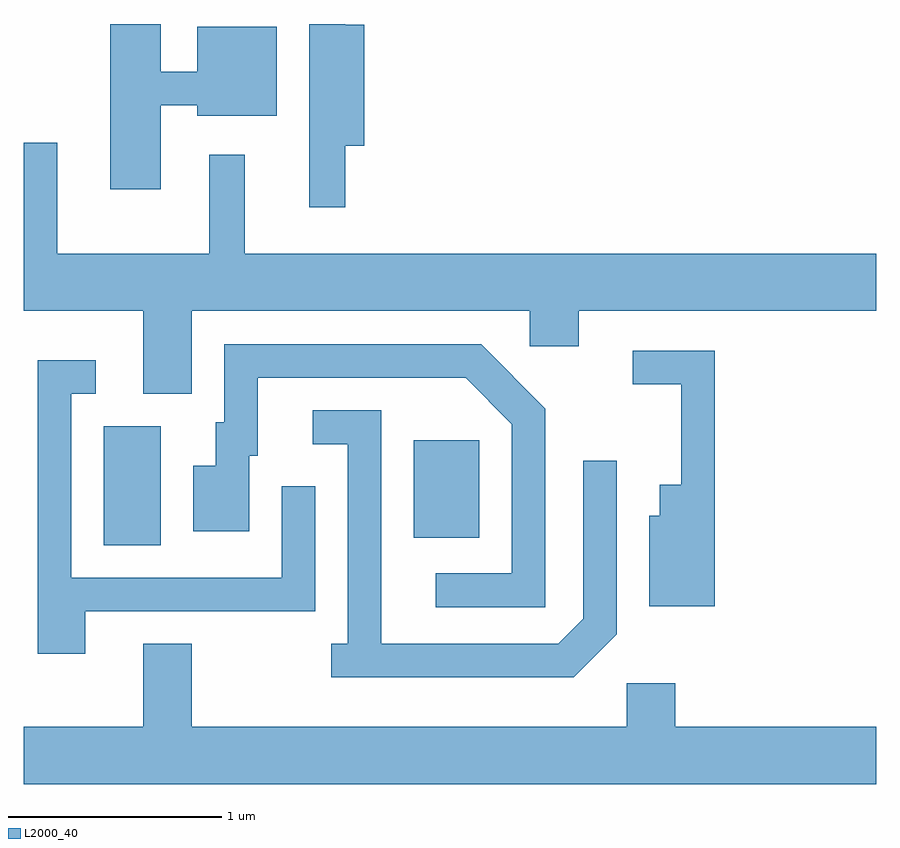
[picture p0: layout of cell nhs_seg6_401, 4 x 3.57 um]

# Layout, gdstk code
import gdstk
lib = gdstk.Library(unit=1e-6, precision=1e-09)
def R(c, l, rs):  # rectangles x0, y0, x1, y1
    for r in rs: c.add(gdstk.rectangle(r[:2], r[2:], *l))
def P(c, l, *ps):  # polygons
    for p in ps: c.add(gdstk.Polygon(p, *l))
L2000_40 = (2000, 40)

nhs_seg6_401 = lib.new_cell('nhs_seg6_401')
R(nhs_seg6_401, L2000_40, [(195.986,1657.716,196.254,1658.274), (197.441,1657.751,197.749,1658.209)])
P(nhs_seg6_401, L2000_40, [(196.254,1659.781),(196.426,1659.781),(196.426,1659.731),(196.799,1659.731),(196.799,1660.149),(196.426,1660.149),(196.426,1659.939),(196.254,1659.939),(196.254,1660.162),(196.016,1660.162),(196.016,1659.386),(196.254,1659.386)],
  [(197.119,1659.591),(197.209,1659.591),(197.209,1660.159),(197.119,1660.159),(197.119,1660.162),(196.951,1660.162),(196.951,1659.303),(197.119,1659.303)],
  [(196.399,1658.816),(197.986,1658.816),(197.986,1658.651),(198.214,1658.651),(198.214,1658.816),(199.611,1658.816),(199.611,1659.084),(196.649,1659.084),(196.649,1659.548),(196.481,1659.548),(196.481,1659.084),(195.769,1659.084),(195.769,1659.604),(195.611,1659.604),(195.611,1658.816),(196.171,1658.816),(196.171,1658.426),(196.399,1658.426)],
  [(198.059,1658.357),(197.757,1658.659),(196.551,1658.659),(196.551,1658.294),(196.511,1658.294),(196.511,1658.089),(196.406,1658.089),(196.406,1657.781),(196.669,1657.781),(196.669,1658.136),(196.709,1658.136),(196.709,1658.501),(197.684,1658.501),(197.901,1658.284),(197.901,1657.584),(197.543,1657.584),(197.543,1657.426),(198.059,1657.426)],
  [(198.854,1658.629),(198.468,1658.629),(198.468,1658.471),(198.696,1658.471),(198.696,1657.999),(198.596,1657.999),(198.596,1657.854),(198.546,1657.854),(198.546,1657.431),(198.854,1657.431)],
  [(195.899,1657.406),(196.979,1657.406),(196.979,1657.993),(196.821,1657.993),(196.821,1657.564),(195.834,1657.564),(195.834,1658.426),(195.948,1658.426),(195.948,1658.584),(195.676,1658.584),(195.676,1657.206),(195.899,1657.206)],
  [(198.394,1657.299),(198.394,1658.113),(198.236,1658.113),(198.236,1657.372),(198.119,1657.254),(197.289,1657.254),(197.289,1658.349),(196.968,1658.349),(196.968,1658.191),(197.131,1658.191),(197.131,1657.254),(197.053,1657.254),(197.053,1657.096),(198.192,1657.096)],
  [(199.611,1656.864),(198.669,1656.864),(198.669,1657.069),(198.441,1657.069),(198.441,1656.864),(196.399,1656.864),(196.399,1657.254),(196.171,1657.254),(196.171,1656.864),(195.611,1656.864),(195.611,1656.596),(199.611,1656.596)])

lib.write_gds('nhs_seg6_401.gds')
